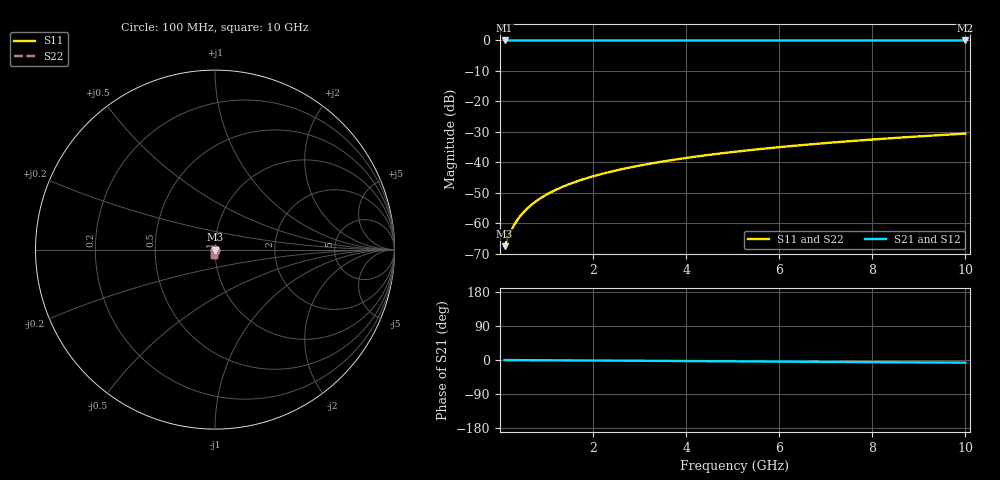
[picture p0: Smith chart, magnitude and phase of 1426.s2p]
# Hz S RI R 50.00
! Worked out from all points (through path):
!   100 points, 100 MHz to 10 GHz, reference 50 ohm
!   highest |S21| = 0.00 dB at 100 MHz (marker M1); lowest = 0.0 dB at 10 GHz (marker M2)
!   lowest |S11| = -67.4 dB at 100 MHz (marker M3), VSWR 1.00, Z = 50 - j0.0296 ohm
!   |S11| at or under -10 dB: start of sweep to end of sweep
!   |S22| runs from -67.4 to -30.5 dB; largest |S21 - S12| = 0
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1e8  0.000304 -0.000296  0.9997 -0.00123  0.9997 -0.00123  0.000304 -0.000296
2e8  0.000305 -0.000592  0.9997 -0.00245  0.9997 -0.00245  0.000305 -0.000592
3e8  0.000304 -0.000889  0.9997 -0.00368  0.9997 -0.00368  0.000304 -0.000889
4e8  0.000301 -0.00118  0.9997 -0.0049  0.9997 -0.0049  0.000301 -0.00118
5e8  0.000299 -0.00148  0.9997 -0.00613  0.9997 -0.00613  0.000299 -0.00148
6e8  0.000295 -0.00178  0.9997 -0.00735  0.9997 -0.00735  0.000295 -0.00178
7e8  0.00029 -0.00207  0.9996 -0.00858  0.9996 -0.00858  0.00029 -0.00207
9e8  0.000279 -0.00267  0.9996 -0.011  0.9996 -0.011  0.000279 -0.00267
1e9  0.000272 -0.00296  0.9996 -0.0123  0.9996 -0.0123  0.000272 -0.00296
1.2e9  0.000256 -0.00356  0.9996 -0.0147  0.9996 -0.0147  0.000256 -0.00356
1.5e9  0.000226 -0.00444  0.9995 -0.0184  0.9995 -0.0184  0.000226 -0.00444
1.8e9  0.000189 -0.00533  0.9994 -0.0221  0.9994 -0.0221  0.000189 -0.00533
2.1e9  0.000146 -0.00622  0.9993 -0.0257  0.9993 -0.0257  0.000146 -0.00622
2.5e9  7.84e-05 -0.00741  0.9992 -0.0306  0.9992 -0.0306  7.84e-05 -0.00741
2.9e9  -1.27e-06 -0.0086  0.999 -0.0355  0.999 -0.0355  -1.27e-06 -0.0086
3.4e9  -0.000117 -0.0101  0.9987 -0.0417  0.9987 -0.0417  -0.000117 -0.0101
4.2e9  -0.000341 -0.0125  0.9982 -0.0515  0.9982 -0.0515  -0.000341 -0.0125
5.1e9  -0.00065 -0.0151  0.9976 -0.0625  0.9976 -0.0625  -0.00065 -0.0151
5.9e9  -0.000974 -0.0175  0.9968 -0.0724  0.9968 -0.0724  -0.000974 -0.0175
6.7e9  -0.00134 -0.0199  0.996 -0.0822  0.996 -0.0822  -0.00134 -0.0199
8.4e9  -0.00229 -0.0249  0.9939 -0.1031  0.9939 -0.1031  -0.00229 -0.0249
1e10  -0.00337 -0.0295  0.9916 -0.1227  0.9916 -0.1227  -0.00337 -0.0295
